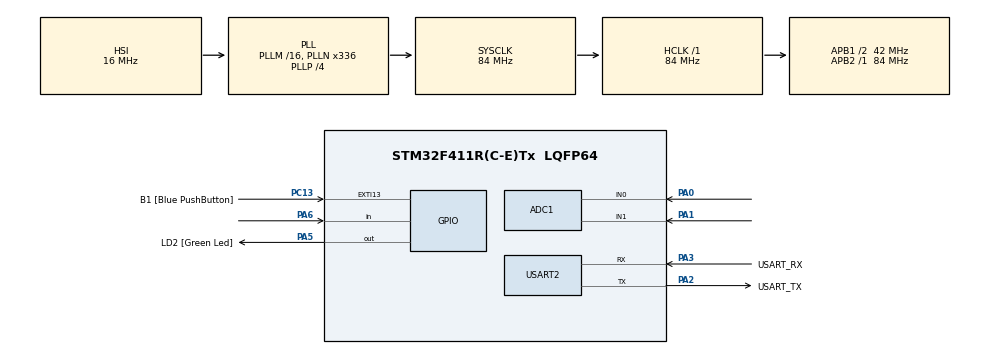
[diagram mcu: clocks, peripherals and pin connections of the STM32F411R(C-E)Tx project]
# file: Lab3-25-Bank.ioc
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ADC1.Channel-0\#ChannelRegularConversion=ADC_CHANNEL_0
ADC1.NbrOfConversionFlag=1
ADC1.Rank-0\#ChannelRegularConversion=1
ADC1.SamplingTime-0\#ChannelRegularConversion=ADC_SAMPLETIME_3CYCLES
ADC1.master=1
Mcu.Family=STM32F4
Mcu.Name=STM32F411R(C-E)Tx
Mcu.Package=LQFP64
NVIC.PriorityGroup=NVIC_PRIORITYGROUP_0
PA0-WKUP.Signal=ADCx_IN0
PA1.Signal=ADCx_IN1
PA13.GPIO_Label=TMS
PA13.Mode=Serial_Wire
PA13.Signal=SYS_JTMS-SWDIO
PA14.GPIO_Label=TCK
PA14.Mode=Serial_Wire
PA14.Signal=SYS_JTCK-SWCLK
PA2.GPIO_Label=USART_TX
PA2.Mode=Asynchronous
PA2.Signal=USART2_TX
PA3.GPIO_Label=USART_RX
PA3.Mode=Asynchronous
PA3.Signal=USART2_RX
PA5.GPIO_Label=LD2 [Green Led]
PA5.Signal=GPIO_Output
PA6.Signal=GPIO_Input
PB3.GPIO_Label=SWO
PB3.Signal=SYS_JTDO-SWO
PC13-ANTI_TAMP.GPIO_Label=B1 [Blue PushButton]
PC13-ANTI_TAMP.GPIO_ModeDefaultEXTI=GPIO_MODE_IT_FALLING
PC13-ANTI_TAMP.Signal=GPXTI13
PC14-OSC32_IN.Mode=LSE-External-Oscillator
PC14-OSC32_IN.Signal=RCC_OSC32_IN
PC15-OSC32_OUT.Mode=LSE-External-Oscillator
PC15-OSC32_OUT.Signal=RCC_OSC32_OUT
PH0\ -\ OSC_IN.Mode=HSE-External-Clock-Source
PH0\ -\ OSC_IN.Signal=RCC_OSC_IN
PH1\ -\ OSC_OUT.Mode=HSE-External-Clock-Source
PH1\ -\ OSC_OUT.Signal=RCC_OSC_OUT
ProjectManager.HeapSize=0x200
ProjectManager.StackSize=0x400
ProjectManager.TargetToolchain=STM32CubeIDE
RCC.48MHZClocksFreq_Value=84000000
RCC.AHBFreq_Value=84000000
RCC.APB1CLKDivider=RCC_HCLK_DIV2
RCC.APB1Freq_Value=42000000
RCC.APB1TimFreq_Value=84000000
RCC.APB2Freq_Value=84000000
RCC.APB2TimFreq_Value=84000000
RCC.CortexFreq_Value=84000000
RCC.FLatency-AdvancedSettings=FLASH_LATENCY_2
RCC.HCLKFreq_Value=84000000
RCC.HSE_VALUE=8000000
RCC.HSI_VALUE=16000000
RCC.PLLN=336
RCC.PLLP=RCC_PLLP_DIV4
RCC.SYSCLKFreq_VALUE=84000000
RCC.SYSCLKSource=RCC_SYSCLKSOURCE_PLLCLK
RCC.VCOOutputFreq_Value=336000000
SH.ADCx_IN0.0=ADC1_IN0,IN0
SH.ADCx_IN1.0=ADC1_IN1,IN1
USART2.VirtualMode=VM_ASYNC
VP_ADC1_TempSens_Input.Mode=IN-TempSens
board=NUCLEO-F411RE

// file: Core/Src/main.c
/* USER CODE BEGIN Header */
/**
  ******************************************************************************
  * @file           : main.c
  * @brief          : Main program body
  ******************************************************************************
  * @attention
  *
  * <h2><center>&copy; Copyright (c) 2021 STMicroelectronics.
  * All rights reserved.</center></h2>
  *
  * This software component is licensed by ST under BSD 3-Clause license,
  * the "License"; You may not use this file except in compliance with the
  * License. You may obtain a copy of the License at:
  *                        opensource.org/licenses/BSD-3-Clause
  *
  ******************************************************************************
  */
/* USER CODE END Header */
#include "main.h"

ADC_HandleTypeDef hadc1;

UART_HandleTypeDef huart2;

/* USER CODE BEGIN PV */
uint16_t adcdata[2] = { 0 };
int ADCMode = 0;
float ADCOutputConverted;
float change;
float change1;
typedef struct {
	ADC_ChannelConfTypeDef Config;
	uint16_t data;
} ADCStructure;

ADCStructure ADCChannel[3] = { 0 };

/* USER CODE END PV */

void SystemClock_Config(void);
static void MX_GPIO_Init(void);
static void MX_USART2_UART_Init(void);
static void MX_ADC1_Init(void);
/* USER CODE BEGIN PFP */
void ADCPollingMethodInit();
void ADCPollingMethodUpdate();
/* USER CODE END PFP */

int main(void)
{

  /* MCU Configuration--------------------------------------------------------*/

  /* Reset of all peripherals, Initializes the Flash interface and the Systick. */
  HAL_Init();

  /* Configure the system clock */
  SystemClock_Config();

  /* Initialize all configured peripherals */
  MX_GPIO_Init();
  MX_USART2_UART_Init();
  MX_ADC1_Init();
  /* USER CODE BEGIN 2 */
  ADCPollingMethodInit();
  GPIO_PinState SwitchState[2];
  float Vsense;
  int V25 = 0;
  float Avg_Slope = 0;
  float Temperature;
  /* USER CODE END 2 */

  /* Infinite loop */
  while (1)
  {

    /* USER CODE BEGIN 3 */
	  ADCPollingMethodUpdate();
	  SwitchState[0] = HAL_GPIO_ReadPin(GPIOA, GPIO_PIN_6);
	  if(SwitchState[1] == GPIO_PIN_SET && SwitchState[0] == GPIO_PIN_RESET)
	  {
		  if(ADCMode == 0)
		  {
			  ADCMode = 1;
		  }
		  else
		  {
			  ADCMode = 0;
		  }
	  }
	  SwitchState[1] = SwitchState[0];

	  if(ADCMode == 0)
	  {
		  change = ADCChannel[0].data;
		  ADCOutputConverted = (change*(3300.0/4096.0));
	  }

	  else
	  {
		  change1 = ADCChannel[1].data;
		  Vsense = (change1*(3300.0/4096.0));
		  V25 = 760;
		  Avg_Slope = 2.5;
		  Temperature = ((Vsense-V25)/Avg_Slope)+25;
		  ADCOutputConverted = Temperature;
	  }
  }
  /* USER CODE END 3 */
}

void SystemClock_Config(void)
{
  RCC_OscInitTypeDef RCC_OscInitStruct = {0};
  RCC_ClkInitTypeDef RCC_ClkInitStruct = {0};

  /** Configure the main internal regulator output voltage
  */
  __HAL_RCC_PWR_CLK_ENABLE();
  __HAL_PWR_VOLTAGESCALING_CONFIG(PWR_REGULATOR_VOLTAGE_SCALE1);
  /** Initializes the RCC Oscillators according to the specified parameters
  * in the RCC_OscInitTypeDef structure.
  */
  RCC_OscInitStruct.OscillatorType = RCC_OSCILLATORTYPE_HSI;
  RCC_OscInitStruct.HSIState = RCC_HSI_ON;
  RCC_OscInitStruct.HSICalibrationValue = RCC_HSICALIBRATION_DEFAULT;
  RCC_OscInitStruct.PLL.PLLState = RCC_PLL_ON;
  RCC_OscInitStruct.PLL.PLLSource = RCC_PLLSOURCE_HSI;
  RCC_OscInitStruct.PLL.PLLM = 16;
  RCC_OscInitStruct.PLL.PLLN = 336;
  RCC_OscInitStruct.PLL.PLLP = RCC_PLLP_DIV4;
  RCC_OscInitStruct.PLL.PLLQ = 4;
  if (HAL_RCC_OscConfig(&RCC_OscInitStruct) != HAL_OK)
  {
    Error_Handler();
  }
  /** Initializes the CPU, AHB and APB buses clocks
  */
  RCC_ClkInitStruct.ClockType = RCC_CLOCKTYPE_HCLK|RCC_CLOCKTYPE_SYSCLK
                              |RCC_CLOCKTYPE_PCLK1|RCC_CLOCKTYPE_PCLK2;
  RCC_ClkInitStruct.SYSCLKSource = RCC_SYSCLKSOURCE_PLLCLK;
  RCC_ClkInitStruct.AHBCLKDivider = RCC_SYSCLK_DIV1;
  RCC_ClkInitStruct.APB1CLKDivider = RCC_HCLK_DIV2;
  RCC_ClkInitStruct.APB2CLKDivider = RCC_HCLK_DIV1;

  if (HAL_RCC_ClockConfig(&RCC_ClkInitStruct, FLASH_LATENCY_2) != HAL_OK)
  {
    Error_Handler();
  }
}

static void MX_ADC1_Init(void)
{

  ADC_ChannelConfTypeDef sConfig = {0};

  /** Configure the global features of the ADC (Clock, Resolution, Data Alignment and number of conversion)
  */
  hadc1.Instance = ADC1;
  hadc1.Init.ClockPrescaler = ADC_CLOCK_SYNC_PCLK_DIV4;
  hadc1.Init.Resolution = ADC_RESOLUTION_12B;
  hadc1.Init.ScanConvMode = DISABLE;
  hadc1.Init.ContinuousConvMode = DISABLE;
  hadc1.Init.DiscontinuousConvMode = DISABLE;
  hadc1.Init.ExternalTrigConvEdge = ADC_EXTERNALTRIGCONVEDGE_NONE;
  hadc1.Init.ExternalTrigConv = ADC_SOFTWARE_START;
  hadc1.Init.DataAlign = ADC_DATAALIGN_RIGHT;
  hadc1.Init.NbrOfConversion = 1;
  hadc1.Init.DMAContinuousRequests = DISABLE;
  hadc1.Init.EOCSelection = ADC_EOC_SINGLE_CONV;
  if (HAL_ADC_Init(&hadc1) != HAL_OK)
  {
    Error_Handler();
  }
  /** Configure for the selected ADC regular channel its corresponding rank in the sequencer and its sample time.
  */
  sConfig.Channel = ADC_CHANNEL_0;
  sConfig.Rank = 1;
  sConfig.SamplingTime = ADC_SAMPLETIME_3CYCLES;
  if (HAL_ADC_ConfigChannel(&hadc1, &sConfig) != HAL_OK)
  {
    Error_Handler();
  }

}

static void MX_USART2_UART_Init(void)
{

  huart2.Instance = USART2;
  huart2.Init.BaudRate = 115200;
  huart2.Init.WordLength = UART_WORDLENGTH_8B;
  huart2.Init.StopBits = UART_STOPBITS_1;
  huart2.Init.Parity = UART_PARITY_NONE;
  huart2.Init.Mode = UART_MODE_TX_RX;
  huart2.Init.HwFlowCtl = UART_HWCONTROL_NONE;
  huart2.Init.OverSampling = UART_OVERSAMPLING_16;
  if (HAL_UART_Init(&huart2) != HAL_OK)
  {
    Error_Handler();
  }

}

static void MX_GPIO_Init(void)
{
  GPIO_InitTypeDef GPIO_InitStruct = {0};

  /* GPIO Ports Clock Enable */
  __HAL_RCC_GPIOC_CLK_ENABLE();
  __HAL_RCC_GPIOH_CLK_ENABLE();
  __HAL_RCC_GPIOA_CLK_ENABLE();
  __HAL_RCC_GPIOB_CLK_ENABLE();

  /*Configure GPIO pin Output Level */
  HAL_GPIO_WritePin(LD2_GPIO_Port, LD2_Pin, GPIO_PIN_RESET);

  /*Configure GPIO pin : B1_Pin */
  GPIO_InitStruct.Pin = B1_Pin;
  GPIO_InitStruct.Mode = GPIO_MODE_IT_FALLING;
  GPIO_InitStruct.Pull = GPIO_NOPULL;
  HAL_GPIO_Init(B1_GPIO_Port, &GPIO_InitStruct);

  /*Configure GPIO pin : LD2_Pin */
  GPIO_InitStruct.Pin = LD2_Pin;
  GPIO_InitStruct.Mode = GPIO_MODE_OUTPUT_PP;
  GPIO_InitStruct.Pull = GPIO_NOPULL;
  GPIO_InitStruct.Speed = GPIO_SPEED_FREQ_LOW;
  HAL_GPIO_Init(LD2_GPIO_Port, &GPIO_InitStruct);

  /*Configure GPIO pin : PA6 */
  GPIO_InitStruct.Pin = GPIO_PIN_6;
  GPIO_InitStruct.Mode = GPIO_MODE_INPUT;
  GPIO_InitStruct.Pull = GPIO_NOPULL;
  HAL_GPIO_Init(GPIOA, &GPIO_InitStruct);

}

/* USER CODE BEGIN 4 */
void ADCPollingMethodInit() {
	//config all ADC Channel
	ADCChannel[0].Config.Channel = ADC_CHANNEL_0;
	ADCChannel[0].Config.Rank = 1;
	ADCChannel[0].Config.SamplingTime = ADC_SAMPLETIME_3CYCLES;

	ADCChannel[1].Config.Channel = ADC_CHANNEL_TEMPSENSOR;
	ADCChannel[1].Config.Rank = 1;
	ADCChannel[1].Config.SamplingTime = ADC_SAMPLETIME_3CYCLES;
}
//Polling Method
void ADCPollingMethodUpdate() {
	//Read all 3 Channel
	for (int i = 0; i < 2; i++) {
		HAL_ADC_ConfigChannel(&hadc1, &ADCChannel[i].Config);
		HAL_ADC_Start(&hadc1);
		HAL_ADC_PollForConversion(&hadc1, 10);
		ADCChannel[i].data = HAL_ADC_GetValue(&hadc1);
		//เก็บค่า
		HAL_ADC_Stop(&hadc1);
	}
}
/* USER CODE END 4 */

void Error_Handler(void)
{
  __disable_irq();
  while (1)
  {
  }
}

/************************ (C) COPYRIGHT STMicroelectronics *****END OF FILE****/
